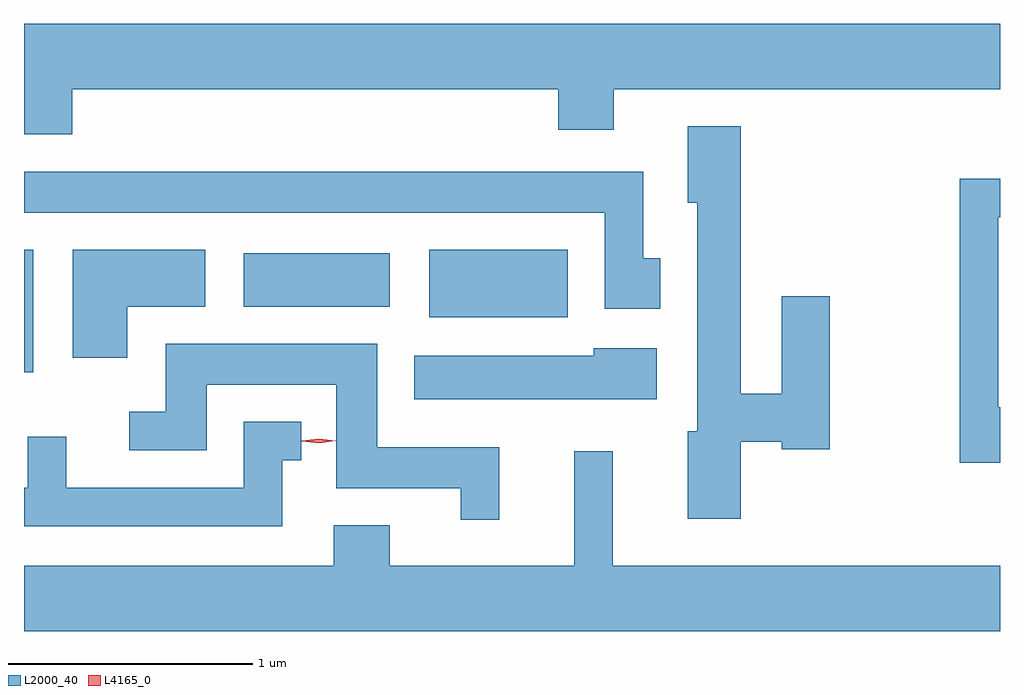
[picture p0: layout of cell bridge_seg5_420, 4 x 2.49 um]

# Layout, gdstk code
import gdstk
lib = gdstk.Library(unit=1e-6, precision=1e-09)
def R(c, l, rs):  # rectangles x0, y0, x1, y1
    for r in rs: c.add(gdstk.rectangle(r[:2], r[2:], *l))
def P(c, l, *ps):  # polygons
    for p in ps: c.add(gdstk.Polygon(p, *l))
L2000_40 = (2000, 40)
L4165_0 = (4165, 0)

bridge_seg5_420 = lib.new_cell('bridge_seg5_420')
R(bridge_seg5_420, L2000_40, [(380.171,1506.696,380.209,1507.199), (381.831,1506.921,382.399,1507.199), (381.071,1506.966,381.669,1507.184)])
P(bridge_seg5_420, L2000_40, [(380.369,1507.856),(382.361,1507.856),(382.361,1507.691),(382.589,1507.691),(382.589,1507.856),(384.171,1507.856),(384.171,1508.124),(380.171,1508.124),(380.171,1507.671),(380.369,1507.671)],
  [(383.109,1506.411),(383.276,1506.411),(383.276,1506.381),(383.474,1506.381),(383.474,1507.009),(383.276,1507.009),(383.276,1506.609),(383.109,1506.609),(383.109,1507.704),(382.891,1507.704),(382.891,1507.391),(382.931,1507.391),(382.931,1506.454),(382.891,1506.454),(382.891,1506.096),(383.109,1506.096)],
  [(382.779,1507.164),(382.709,1507.164),(382.709,1507.519),(380.171,1507.519),(380.171,1507.351),(382.551,1507.351),(382.551,1506.956),(382.779,1506.956)],
  [(384.171,1506.554),(384.164,1506.554),(384.164,1507.331),(384.171,1507.331),(384.171,1507.489),(384.006,1507.489),(384.006,1506.326),(384.171,1506.326)],
  [(380.594,1506.966),(380.914,1506.966),(380.914,1507.199),(380.371,1507.199),(380.371,1506.756),(380.594,1506.756)],
  [(382.119,1506.389),(381.619,1506.389),(381.619,1506.814),(380.751,1506.814),(380.751,1506.534),(380.603,1506.534),(380.603,1506.376),(380.919,1506.376),(380.919,1506.646),(381.451,1506.646),(381.451,1506.221),(381.961,1506.221),(381.961,1506.093),(382.119,1506.093)],
  [(382.764,1506.794),(382.506,1506.794),(382.506,1506.764),(381.771,1506.764),(381.771,1506.586),(382.764,1506.586)],
  [(381.229,1506.336),(381.308,1506.336),(381.308,1506.494),(381.071,1506.494),(381.071,1506.224),(380.344,1506.224),(380.344,1506.433),(380.186,1506.433),(380.186,1506.224),(380.171,1506.224),(380.171,1506.066),(381.229,1506.066)],
  [(384.171,1505.904),(382.584,1505.904),(382.584,1506.373),(382.426,1506.373),(382.426,1505.904),(381.669,1505.904),(381.669,1506.069),(381.441,1506.069),(381.441,1505.904),(380.171,1505.904),(380.171,1505.636),(384.171,1505.636)])
P(bridge_seg5_420, L4165_0, [(381.378,1506.406),(381.309,1506.414),(381.309,1506.415),(381.309,1506.416),(381.378,1506.425),(381.448,1506.416),(381.448,1506.416),(381.448,1506.415)])

lib.write_gds('bridge_seg5_420.gds')
